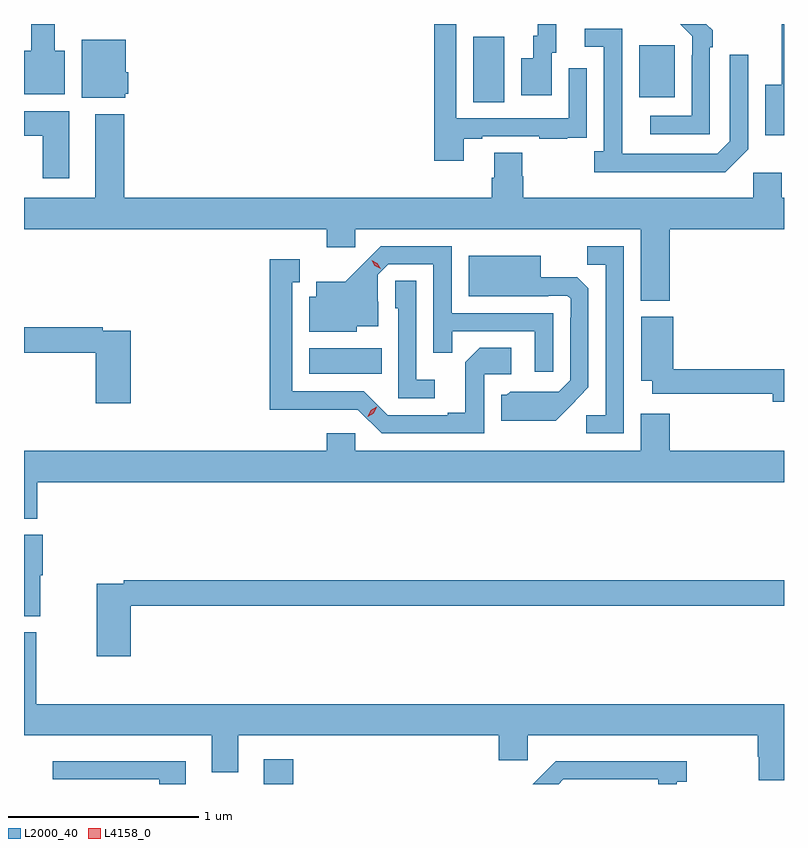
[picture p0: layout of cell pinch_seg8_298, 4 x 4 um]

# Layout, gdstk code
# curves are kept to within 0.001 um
import gdstk
lib = gdstk.Library(unit=1e-6, precision=1e-09)
def R(c, l, rs):  # rectangles x0, y0, x1, y1
    for r in rs: c.add(gdstk.rectangle(r[:2], r[2:], *l))
def P(c, l, *ps):  # polygons
    for p in ps: c.add(gdstk.Polygon(p, *l))
L2000_40 = (2000, 40)
L4158_0 = (4158, 0)

pinch_seg8_298 = lib.new_cell('pinch_seg8_298')
R(pinch_seg8_298, L2000_40, [(515.645,1134.891,515.798,1135.021), (515.882,1137.05,516.266,1137.184), (516.746,1138.48,516.91,1138.824), (517.619,1138.505,517.807,1138.78)])
P(pinch_seg8_298, L2000_40, [(517.992,1138.769),(518.007,1138.769),(518.007,1138.857),(517.973,1138.891),(517.835,1138.891),(517.899,1138.827),(517.899,1138.727),(517.896,1138.727),(517.896,1138.407),(517.677,1138.407),(517.677,1138.311),(517.992,1138.311)],
  [(517.159,1138.74),(517.183,1138.74),(517.183,1138.891),(517.086,1138.891),(517.086,1138.83),(517.061,1138.83),(517.061,1138.711),(516.998,1138.711),(516.998,1138.515),(517.159,1138.515)],
  [(514.597,1138.75),(514.543,1138.75),(514.543,1138.891),(514.421,1138.891),(514.421,1138.75),(514.382,1138.75),(514.382,1138.52),(514.597,1138.52)],
  [(516.697,1138.287),(516.793,1138.287),(516.793,1138.299),(517.093,1138.299),(517.093,1138.287),(517.241,1138.287),(517.241,1138.293),(517.343,1138.293),(517.343,1138.402),(517.344,1138.402),(517.344,1138.657),(517.248,1138.657),(517.248,1138.395),(516.657,1138.395),(516.657,1138.891),(516.541,1138.891),(516.541,1138.17),(516.697,1138.17)],
  [(518.382,1138.891),(518.371,1138.891),(518.371,1138.57),(518.282,1138.57),(518.282,1138.306),(518.382,1138.306)],
  [(518.193,1138.233),(518.193,1138.729),(518.097,1138.729),(518.097,1138.275),(518.031,1138.209),(517.531,1138.209),(517.53,1138.866),(517.332,1138.866),(517.332,1138.77),(517.434,1138.77),(517.434,1138.222),(517.383,1138.222),(517.383,1138.112),(518.072,1138.112)],
  [(514.914,1138.524),(514.93,1138.524),(514.93,1138.638),(514.918,1138.638),(514.918,1138.807),(514.685,1138.807),(514.685,1138.502),(514.914,1138.502)],
  [(514.621,1138.432),(514.382,1138.432),(514.382,1138.304),(514.481,1138.304),(514.481,1138.08),(514.621,1138.08)],
  [(517.781,1137.812),(518.382,1137.812),(518.382,1137.976),(518.371,1137.976),(518.371,1138.108),(518.22,1138.108),(518.22,1137.976),(517.01,1137.976),(517.01,1138.089),(517.005,1138.089),(517.005,1138.214),(516.857,1138.214),(516.857,1138.082),(516.845,1138.082),(516.845,1137.976),(514.91,1137.976),(514.91,1138.417),(514.757,1138.417),(514.757,1137.976),(514.382,1137.976),(514.382,1137.812),(515.975,1137.812),(515.975,1137.717),(516.126,1137.717),(516.126,1137.812),(517.628,1137.812),(517.628,1137.434),(517.781,1137.434)],
  [(517.167,1137.369),(516.633,1137.369),(516.633,1137.72),(516.26,1137.72),(516.073,1137.535),(515.921,1137.535),(515.921,1137.456),(515.882,1137.456),(515.882,1137.272),(516.132,1137.272),(516.132,1137.299),(516.247,1137.299),(516.247,1137.428),(516.243,1137.428),(516.243,1137.57),(516.3,1137.627),(516.537,1137.627),(516.537,1137.16),(516.635,1137.16),(516.635,1137.273),(517.071,1137.273),(517.071,1137.06),(517.167,1137.06)],
  [(517.539,1137.72),(517.347,1137.72),(517.347,1137.625),(517.443,1137.625),(517.443,1136.832),(517.341,1136.832),(517.341,1136.736),(517.539,1136.736)],
  [(517.261,1136.885),(517.353,1136.978),(517.353,1137.5),(517.294,1137.559),(517.102,1137.559),(517.102,1137.67),(516.722,1137.67),(516.722,1137.458),(517.142,1137.458),(517.142,1137.462),(517.242,1137.462),(517.26,1137.444),(517.26,1137.344),(517.257,1137.344),(517.257,1137.015),(517.197,1136.955),(516.94,1136.956),(516.924,1136.94),(516.893,1136.94),(516.893,1136.804),(517.181,1136.804)],
  [(516.804,1137.048),(516.946,1137.048),(516.946,1137.188),(516.781,1137.188),(516.705,1137.112),(516.705,1136.845),(516.611,1136.845),(516.611,1136.832),(516.297,1136.832),(516.171,1136.958),(515.794,1136.958),(515.794,1137.531),(515.833,1137.531),(515.833,1137.652),(515.676,1137.652),(515.676,1136.861),(516.138,1136.862),(516.264,1136.736),(516.804,1136.736)],
  [(516.544,1137.019),(516.447,1137.019),(516.447,1137.539),(516.336,1137.539),(516.336,1137.396),(516.351,1137.396),(516.351,1136.922),(516.544,1136.922)],
  [(518.382,1137.074),(517.798,1137.074),(517.798,1137.349),(517.631,1137.349),(517.631,1137.014),(517.688,1137.014),(517.688,1136.946),(518.324,1136.946),(518.324,1136.903),(518.382,1136.903)],
  [(514.943,1137.276),(514.796,1137.276),(514.796,1137.296),(514.382,1137.296),(514.382,1137.16),(514.76,1137.16),(514.76,1136.895),(514.943,1136.895)],
  [(514.451,1136.48),(518.382,1136.48),(518.382,1136.644),(517.781,1136.644),(517.781,1136.839),(517.628,1136.839),(517.628,1136.644),(516.126,1136.644),(516.126,1136.737),(515.975,1136.737),(515.975,1136.644),(514.382,1136.644),(514.382,1136.288),(514.451,1136.288)],
  [(514.468,1135.989),(514.481,1135.989),(514.481,1136.203),(514.382,1136.203),(514.382,1135.775),(514.468,1135.775)],
  [(514.943,1135.828),(518.382,1135.828),(518.382,1135.964),(514.906,1135.964),(514.906,1135.944),(514.765,1135.944),(514.765,1135.563),(514.943,1135.563)],
  [(518.382,1135.312),(514.446,1135.312),(514.446,1135.69),(514.382,1135.69),(514.382,1135.148),(515.369,1135.148),(515.369,1134.954),(515.509,1134.954),(515.509,1135.148),(516.881,1135.148),(516.881,1135.017),(517.032,1135.017),(517.032,1135.148),(518.243,1135.148),(518.243,1135.035),(518.248,1135.035),(518.248,1134.91),(518.382,1134.91)],
  [(515.233,1135.012),(514.533,1135.012),(514.533,1134.915),(515.093,1134.915),(515.093,1134.891),(515.233,1134.891)],
  [(517.221,1134.915),(517.721,1134.915),(517.721,1134.891),(517.818,1134.891),(517.818,1134.902),(517.87,1134.902),(517.87,1135.012),(517.18,1135.012),(517.059,1134.891),(517.197,1134.891)])
P(pinch_seg8_298, L4158_0, [(516.259,1137.602),(516.228,1137.618),(516.211,1137.647),(516.211,1137.647),(516.211,1137.647),(516.242,1137.632),(516.259,1137.603),(516.259,1137.602)],
  [(516.19,1136.824),(516.19,1136.825),(516.207,1136.857),(516.239,1136.876),(516.239,1136.876),(516.239,1136.876),(516.222,1136.843),(516.19,1136.824)])

lib.write_gds('pinch_seg8_298.gds')
